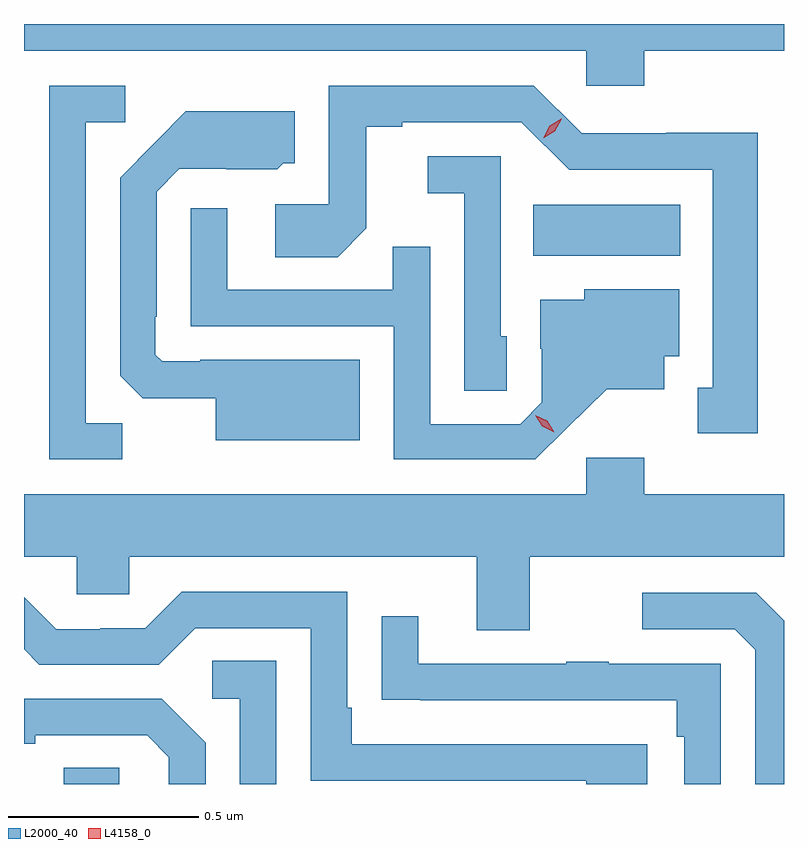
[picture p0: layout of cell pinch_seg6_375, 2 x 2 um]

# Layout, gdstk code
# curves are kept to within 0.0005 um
import gdstk
lib = gdstk.Library(unit=1e-6, precision=1e-09)
def R(c, l, rs):  # rectangles x0, y0, x1, y1
    for r in rs: c.add(gdstk.rectangle(r[:2], r[2:], *l))
def P(c, l, *ps):  # polygons
    for p in ps: c.add(gdstk.Polygon(p, *l))
L2000_40 = (2000, 40)
L4158_0 = (4158, 0)

pinch_seg6_375 = lib.new_cell('pinch_seg6_375')
R(pinch_seg6_375, L2000_40, [(635.189,937.414,635.334,937.457), (636.424,938.804,636.811,938.938)])
P(pinch_seg6_375, L2000_40, [(636.716,939.344),(637.084,939.344),(637.084,939.414),(635.084,939.414),(635.084,939.344),(636.564,939.344),(636.564,939.251),(636.716,939.251)],
  [(635.343,938.363),(635.247,938.363),(635.247,939.156),(635.35,939.156),(635.35,939.252),(635.151,939.252),(635.151,938.268),(635.343,938.268)],
  [(637.015,939.128),(636.774,939.128),(636.774,939.126),(636.552,939.126),(636.426,939.252),(635.886,939.252),(635.886,938.94),(635.745,938.94),(635.745,938.8),(635.909,938.8),(635.985,938.876),(635.985,939.144),(636.079,939.144),(636.079,939.156),(636.393,939.156),(636.519,939.03),(636.896,939.03),(636.896,938.457),(636.857,938.457),(636.857,938.337),(637.015,938.337)],
  [(635.968,938.53),(635.548,938.53),(635.548,938.526),(635.448,938.526),(635.43,938.544),(635.43,938.644),(635.433,938.644),(635.433,938.973),(635.493,939.033),(635.616,939.033),(635.616,939.032),(635.75,939.032),(635.766,939.048),(635.797,939.048),(635.797,939.184),(635.509,939.184),(635.337,939.01),(635.337,938.488),(635.396,938.429),(635.588,938.429),(635.588,938.318),(635.968,938.318)],
  [(636.354,938.592),(636.339,938.592),(636.339,939.066),(636.147,939.066),(636.147,938.969),(636.243,938.969),(636.243,938.449),(636.354,938.449)],
  [(636.514,938.351),(636.617,938.453),(636.769,938.453),(636.769,938.54),(636.808,938.54),(636.808,938.716),(636.558,938.716),(636.558,938.689),(636.443,938.689),(636.443,938.56),(636.447,938.56),(636.447,938.418),(636.39,938.361),(636.153,938.361),(636.153,938.828),(636.055,938.828),(636.055,938.715),(635.619,938.715),(635.619,938.929),(635.523,938.929),(635.523,938.619),(636.057,938.619),(636.057,938.268),(636.43,938.268)],
  [(636.415,938.012),(637.084,938.012),(637.084,938.176),(636.716,938.176),(636.716,938.272),(636.564,938.272),(636.564,938.176),(635.084,938.176),(635.084,938.012),(635.223,938.012),(635.223,937.914),(635.361,937.914),(635.361,938.012),(636.275,938.012),(636.275,937.818),(636.415,937.818)],
  [(636.724,937.518),(635.947,937.518),(635.947,937.615),(635.934,937.615),(635.934,937.92),(635.499,937.92),(635.403,937.824),(635.285,937.824),(635.285,937.821),(635.169,937.821),(635.084,937.906),(635.084,937.768),(635.124,937.728),(635.439,937.728),(635.535,937.824),(635.838,937.824),(635.838,937.422),(636.563,937.422),(636.563,937.414),(636.724,937.414)],
  [(637.084,937.844),(637.011,937.917),(636.711,937.917),(636.711,937.821),(636.954,937.821),(637.008,937.767),(637.008,937.414),(637.084,937.414)],
  [(636.918,937.731),(636.623,937.731),(636.623,937.736),(636.511,937.736),(636.511,937.731),(636.121,937.731),(636.121,937.855),(636.025,937.855),(636.025,937.636),(636.127,937.636),(636.127,937.635),(636.802,937.635),(636.802,937.538),(636.822,937.538),(636.822,937.414),(636.918,937.414)],
  [(635.748,937.739),(635.58,937.739),(635.58,937.638),(635.652,937.638),(635.652,937.414),(635.748,937.414)],
  [(635.562,937.522),(635.446,937.638),(635.084,937.638),(635.084,937.52),(635.113,937.52),(635.113,937.542),(635.408,937.542),(635.465,937.485),(635.465,937.414),(635.562,937.414)])
P(pinch_seg6_375, L4158_0, [(636.45,939.113),(636.45,939.113),(636.467,939.146),(636.498,939.165),(636.499,939.165),(636.499,939.165),(636.481,939.132),(636.45,939.113)],
  [(636.479,938.34),(636.448,938.355),(636.43,938.385),(636.43,938.385),(636.43,938.385),(636.461,938.37),(636.479,938.34),(636.479,938.34)])

lib.write_gds('pinch_seg6_375.gds')
